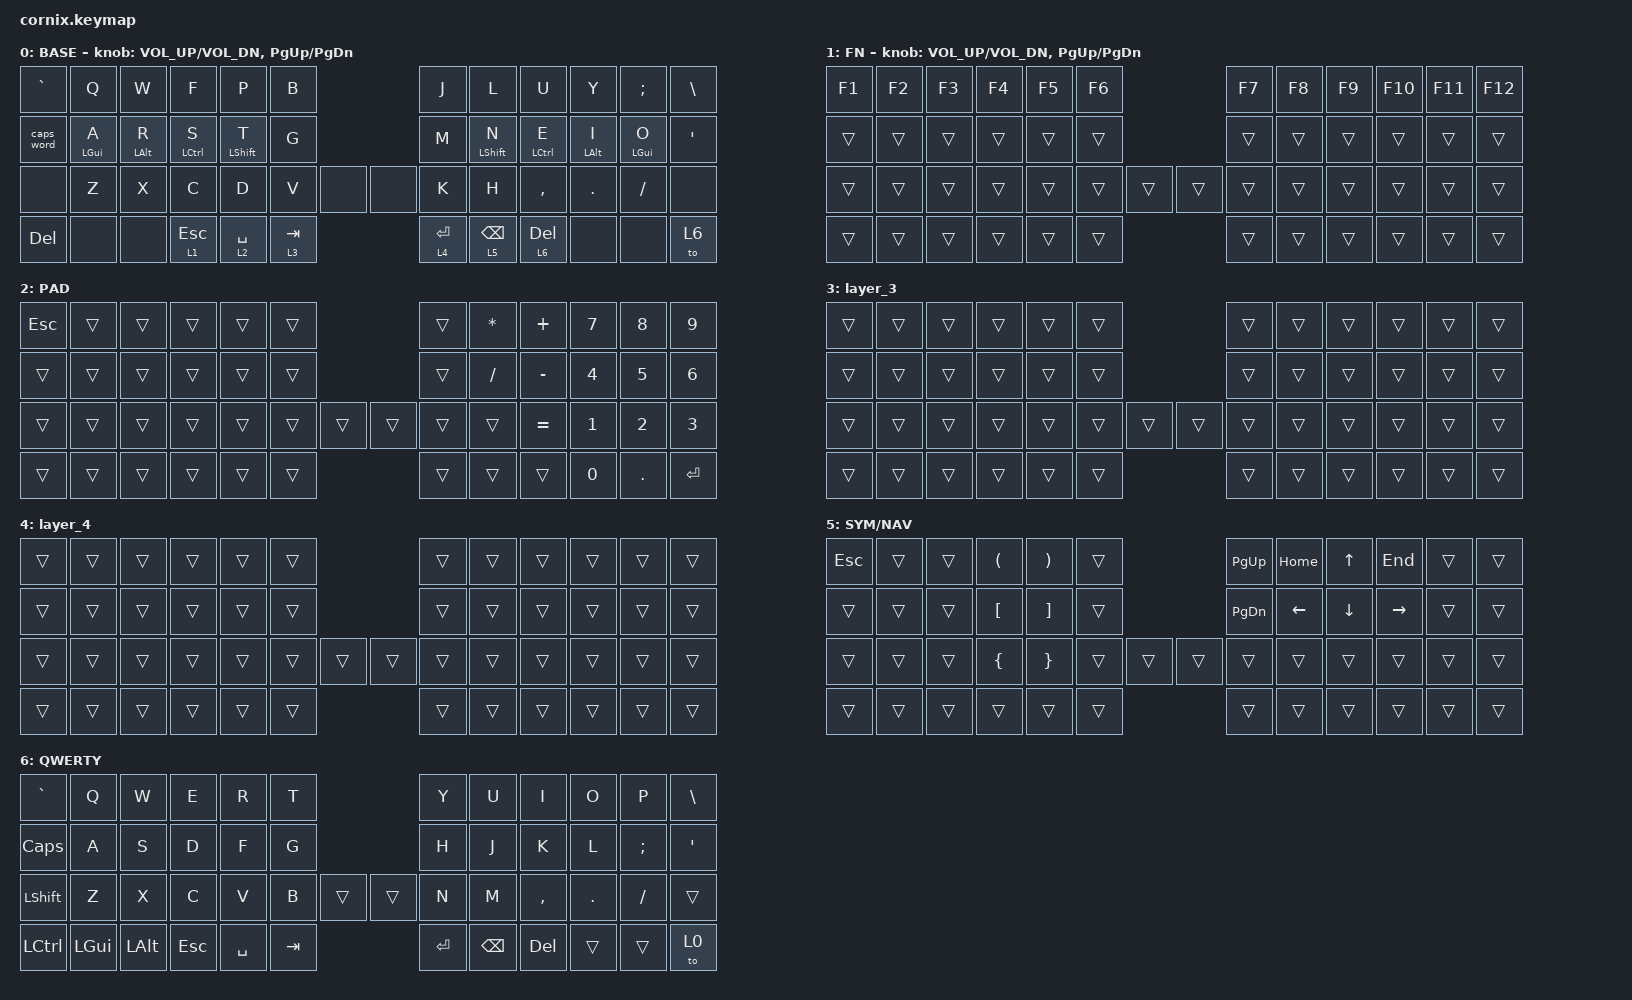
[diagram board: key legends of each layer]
/*
 * Copyright (c) 2020 The ZMK Contributors
 *
 * SPDX-License-Identifier: MIT
 */

#include "zmk-helpers/helper.h"
#include "includes/cornix54.h"

// tap windows for ctl alt and gui

#define HM_TAPPING_TERM 250
#define HM_TAPPING_REPEAT 210

// quick tapping for shift

#define HM_TAPPING_TERM_FAST 200
#define HM_PRIOR_IDLE 70
#define BASE 0
#define WIN 1
#define LOWER 2
#define RAISE 3
#define ADJUST 4
#define NAVI   5
#define NUM    6
#define DEBUG  7

// https://github.com/urob/zmk-config/tree/main#timeless-homerow-mods

#define KEYS_L LT0 LT1 LT2 LT3 LT4 LT5 LM0 LM1 LM2 LM3 LM4 LM5 LB0 LB1 LB2 LB3 LB4 LB5  // left hand
#define KEYS_R RT0 RT1 RT2 RT3 RT4 RT5 RM0 RM1 RM2 RM3 RM4 RM5 RB0 RB1 RB2 RB3 RB4 RB5  // right hand
#define THUMBS LH1 LH0 RH0 RH1
#define KEYS_T LH1 LH0 RH0 RH1
#define ZMK_POINTING_DEFAULT_SCRL_VAL 15

#include <behaviors.dtsi>
#include <dt-bindings/zmk/keys.h>

/ {
    // Activate ADJUST layer by pressing raise and lower

    behaviors {
        hm_l: homerow_mods_left {
            compatible = "zmk,behavior-hold-tap";
            #binding-cells = <2>;
            bindings = <&kp>, <&kp>;

            flavor = "balanced";
            tapping-term-ms = <HM_TAPPING_TERM>;
            quick-tap-ms = <200>;                // repeat on tap-into-hold
            require-prior-idle-ms = <HM_PRIOR_IDLE>;
            hold-trigger-key-positions = <KEYS_R KEYS_T>;
            hold-trigger-on-release;
        };

        hm_r: homerow_mods_right {
            compatible = "zmk,behavior-hold-tap";
            #binding-cells = <2>;
            bindings = <&kp>, <&kp>;

            flavor = "balanced";
            tapping-term-ms = <HM_TAPPING_TERM>;
            quick-tap-ms = <200>;
            require-prior-idle-ms = <HM_PRIOR_IDLE>;
            hold-trigger-key-positions = <KEYS_L KEYS_T>;
            hold-trigger-on-release;
        };

        // Positional Homerow mods for shift
        // Use faster tapping term and disable some features that may
        // cause false negatives.

        hm_shift_l: hm_shift_l {
            compatible = "zmk,behavior-hold-tap";
            #binding-cells = <2>;
            bindings = <&kp>, <&kp>;

            //flavor = "balanced";

            flavor = "balanced";
            tapping-term-ms = <HM_TAPPING_TERM_FAST>;
            quick-tap-ms = <200>;
            require-prior-idle-ms = <HM_PRIOR_IDLE>;
            hold-trigger-key-positions = <KEYS_R KEYS_T>;
            hold-trigger-on-release;
        };

        hm_shift_r: hm_shift_r {
            compatible = "zmk,behavior-hold-tap";
            #binding-cells = <2>;
            bindings = <&kp>, <&kp>;

            flavor = "balanced";
            tapping-term-ms = <HM_TAPPING_TERM_FAST>;
            quick-tap-ms = <200>;
            require-prior-idle-ms = <HM_PRIOR_IDLE>;
            hold-trigger-key-positions = <KEYS_L KEYS_T>;

            // for quick tapping; shift+~

            hold-trigger-on-release;
        };

        /*
         * Non-Positional Homerow Mods
         * Used for &mm_grescm_gui behavior on left hand.
         *
         * Usage: &hm LSHFT T
         * Tap: T
         * Tap-Tap-Hold: Repeat T
         * Hold: LSHIFT
         */

        hm: homerow_mods {
            compatible = "zmk,behavior-hold-tap";
            #binding-cells = <2>;
            bindings = <&kp>, <&kp>;

            flavor = "balanced";
            tapping-term-ms = <HM_TAPPING_TERM>;
            quick-tap-ms = <200>;
        };

        lt: layer_tap {
            compatible = "zmk,behavior-hold-tap";
            #binding-cells = <2>;
            bindings = <&mo>, <&kp>;

            flavor = "hold-preferred";
            tapping-term-ms = <HM_TAPPING_TERM>;
            quick-tap-ms = <200>;
        };
    };

    conditional_layers { compatible = "zmk,conditional-layers"; };

    combos {
        compatible = "zmk,combos";

        combo_1 {
            bindings = <&none>;
            key-positions = <>;
            layers = <0>;
        };

        combo_2 {
            bindings = <&none>;
            key-positions = <>;
            layers = <0>;
        };

        combo_3 {
            bindings = <&none>;
            key-positions = <>;
            layers = <0>;
        };

        combo_4 {
            bindings = <&none>;
            key-positions = <>;
            layers = <0>;
        };

        combo_5 {
            bindings = <&none>;
            key-positions = <>;
            layers = <0>;
        };

        combo_6 {
            bindings = <&none>;
            key-positions = <>;
            layers = <0>;
        };
    };

    keymap {
        compatible = "zmk,keymap";

        default_layer {
            display-name = "BASE";

            // ------------------------------------------------------------------------------------------------------------
            // |   `   |  1  |  2  |  3   |  4   |  5   |                   |  6   |  7    |  8    |  9   |   0   |       |
            // |  ESC  |  Q  |  W  |  E   |  R   |  T   |                   |  Y   |  U    |  I    |  O   |   P   | BKSPC |
            // |  TAB  |  A  |  S  |  D   |  F   |  G   |                   |  H   |  J    |  K    |  L   |   ;   |   '   |
            // | SHIFT |  Z  |  X  |  C   |  V   |  B   |  MUTE  |  |       |  N   |  M    |  ,    |  .   |   /   | SHIFT |
            //               | GUI | ALT  | CTRL | LOWER|  ENTER |  | SPACE | RAISE| CTRL  | ALT   | GUI  |

            bindings = <
&kp GRAVE   &kp Q             &kp W         &kp F          &kp P                &kp B                    &kp J        &kp L                     &kp U          &kp Y             &kp SEMI          &kp BSLH
&caps_word  &hm_l LEFT_GUI A  &hm_l LALT R  &hm_l LCTRL S  &hm_shift_l LSHFT T  &kp G                    &kp M        &hm_shift_r LEFT_SHIFT N  &hm_r LCTRL E  &hm_r LEFT_ALT I  &hm_r LEFT_GUI O  &kp SQT
&none       &kp Z             &kp X         &kp C          &kp D                &kp V      &none  &none  &kp K        &kp H                     &kp COMMA      &kp DOT           &kp FSLH          &none
&kp DELETE  &none             &none         &lt 1 ESCAPE   &lt 2 SPACE          &lt 3 TAB                &lt 4 ENTER  &lt 5 BACKSPACE           &lt 6 DELETE   &none             &none             &to 6
            >;

            sensor-bindings = <&inc_dec_kp C_VOL_UP C_VOL_DN &inc_dec_kp PG_UP PG_DN>;
        };

        function_layer {
            display-name = "FN";

            // ------------------------------------------------------------------------------------------------------------
            // |   `   |  1  |  2  |  3   |  4   |  5   |                   |  6   |  7    |  8    |  9   |   0   |       |
            // |  ESC  |  Q  |  W  |  E   |  R   |  T   |                   |  Y   |  U    |  I    |  O   |   P   | BKSPC |
            // |  TAB  |  A  |  S  |  D   |  F   |  G   |                   |  H   |  J    |  K    |  L   |   ;   |   '   |
            // | SHIFT |  Z  |  X  |  C   |  V   |  B   |  MUTE  |  |       |  N   |  M    |  ,    |  .   |   /   | SHIFT |
            //               | GUI | ALT  | CTRL | LOWER|  ENTER |  | SPACE | RAISE| CTRL  | ALT   | GUI  |

            bindings = <
&kp F1  &kp F2  &kp F3  &kp F4  &kp F5  &kp F6                  &kp F7  &kp F8  &kp F9  &kp F10  &kp F11  &kp F12
&trans  &trans  &trans  &trans  &trans  &trans                  &trans  &trans  &trans  &trans   &trans   &trans
&trans  &trans  &trans  &trans  &trans  &trans  &trans  &trans  &trans  &trans  &trans  &trans   &trans   &trans
&trans  &trans  &trans  &trans  &trans  &trans                  &trans  &trans  &trans  &trans   &trans   &trans
            >;

            sensor-bindings = <&inc_dec_kp C_VOL_UP C_VOL_DN &inc_dec_kp PG_UP PG_DN>;
        };

        pad_layer {
            bindings = <
&kp ESCAPE  &trans  &trans  &trans  &trans  &trans                  &trans  &kp ASTRK  &kp PLUS   &kp N7  &kp N8   &kp N9
&trans      &trans  &trans  &trans  &trans  &trans                  &trans  &kp FSLH   &kp MINUS  &kp N4  &kp N5   &kp N6
&trans      &trans  &trans  &trans  &trans  &trans  &trans  &trans  &trans  &trans     &kp EQUAL  &kp N1  &kp N2   &kp N3
&trans      &trans  &trans  &trans  &trans  &trans                  &trans  &trans     &trans     &kp N0  &kp DOT  &kp ENTER
            >;

            label = "PAD";
        };

        layer_3 {
            bindings = <
&trans  &trans  &trans  &trans  &trans  &trans                  &trans  &trans  &trans  &trans  &trans  &trans
&trans  &trans  &trans  &trans  &trans  &trans                  &trans  &trans  &trans  &trans  &trans  &trans
&trans  &trans  &trans  &trans  &trans  &trans  &trans  &trans  &trans  &trans  &trans  &trans  &trans  &trans
&trans  &trans  &trans  &trans  &trans  &trans                  &trans  &trans  &trans  &trans  &trans  &trans
            >;
        };

        layer_4 {
            bindings = <
&trans  &trans  &trans  &trans  &trans  &trans                  &trans  &trans  &trans  &trans  &trans  &trans
&trans  &trans  &trans  &trans  &trans  &trans                  &trans  &trans  &trans  &trans  &trans  &trans
&trans  &trans  &trans  &trans  &trans  &trans  &trans  &trans  &trans  &trans  &trans  &trans  &trans  &trans
&trans  &trans  &trans  &trans  &trans  &trans                  &trans  &trans  &trans  &trans  &trans  &trans
            >;
        };

        sym_nav_layer {
            bindings = <
&kp ESCAPE  &trans  &trans  &kp LEFT_PARENTHESIS  &kp RIGHT_PARENTHESIS  &trans                  &kp PAGE_UP    &kp HOME        &kp UP_ARROW    &kp END          &trans  &trans
&trans      &trans  &trans  &kp LEFT_BRACKET      &kp RIGHT_BRACKET      &trans                  &kp PAGE_DOWN  &kp LEFT_ARROW  &kp DOWN_ARROW  &kp RIGHT_ARROW  &trans  &trans
&trans      &trans  &trans  &kp LEFT_BRACE        &kp RIGHT_BRACE        &trans  &trans  &trans  &trans         &trans          &trans          &trans           &trans  &trans
&trans      &trans  &trans  &trans                &trans                 &trans                  &trans         &trans          &trans          &trans           &trans  &trans
            >;

            label = "SYM/NAV";
        };

        layer_6 {
            bindings = <
&kp GRAVE       &kp Q         &kp W         &kp E       &kp R      &kp T                    &kp Y      &kp U          &kp I       &kp O    &kp P     &kp BSLH
&kp CAPSLOCK    &kp A         &kp S         &kp D       &kp F      &kp G                    &kp H      &kp J          &kp K       &kp L    &kp SEMI  &kp APOS
&kp LEFT_SHIFT  &kp Z         &kp X         &kp C       &kp V      &kp B    &trans  &trans  &kp N      &kp M          &kp COMMA   &kp DOT  &kp FSLH  &trans
&kp LCTRL       &kp LEFT_GUI  &kp LEFT_ALT  &kp ESCAPE  &kp SPACE  &kp TAB                  &kp ENTER  &kp BACKSPACE  &kp DELETE  &trans   &trans    &to 0
            >;

            label = "QWERTY";
        };
    };
};
